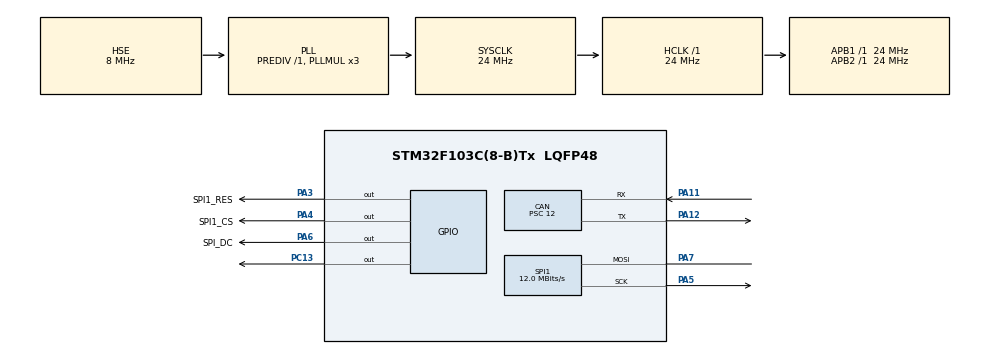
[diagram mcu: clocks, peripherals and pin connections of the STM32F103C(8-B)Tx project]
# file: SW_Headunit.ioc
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CAN.BS1=CAN_BS1_13TQ
CAN.BS2=CAN_BS2_2TQ
CAN.CalculateBaudRate=125000
CAN.CalculateTimeBit=8000
CAN.CalculateTimeQuantum=500.0
CAN.NART=ENABLE
CAN.Prescaler=12
Mcu.Family=STM32F1
Mcu.Name=STM32F103C(8-B)Tx
Mcu.Package=LQFP48
NVIC.CAN1_RX1_IRQn=true\:0\:0\:false\:false\:true\:true\:true\:true
NVIC.CAN1_SCE_IRQn=true\:0\:0\:false\:false\:true\:true\:true\:true
NVIC.PriorityGroup=NVIC_PRIORITYGROUP_4
NVIC.SPI1_IRQn=true\:0\:0\:false\:false\:true\:true\:true\:true
NVIC.TIM4_IRQn=true\:0\:0\:false\:false\:true\:true\:true\:true
NVIC.USB_HP_CAN1_TX_IRQn=true\:0\:0\:false\:false\:true\:true\:true\:true
NVIC.USB_LP_CAN1_RX0_IRQn=true\:0\:0\:false\:false\:true\:true\:true\:true
PA11.Mode=CAN_Activate
PA11.Signal=CAN_RX
PA12.Mode=CAN_Activate
PA12.Signal=CAN_TX
PA13.Mode=Serial_Wire
PA13.Signal=SYS_JTMS-SWDIO
PA14.Mode=Serial_Wire
PA14.Signal=SYS_JTCK-SWCLK
PA3.GPIO_Label=SPI1_RES
PA3.Signal=GPIO_Output
PA4.GPIO_Label=SPI1_CS
PA4.Signal=GPIO_Output
PA5.Mode=Simplex_Bidirectional_Master
PA5.Signal=SPI1_SCK
PA6.GPIO_Label=SPI_DC
PA6.Signal=GPIO_Output
PA7.Mode=Simplex_Bidirectional_Master
PA7.Signal=SPI1_MOSI
PC13-TAMPER-RTC.Signal=GPIO_Output
PC14-OSC32_IN.Mode=LSE-External-Oscillator
PC14-OSC32_IN.Signal=RCC_OSC32_IN
PC15-OSC32_OUT.Mode=LSE-External-Oscillator
PC15-OSC32_OUT.Signal=RCC_OSC32_OUT
PD0-OSC_IN.Mode=HSE-External-Oscillator
PD0-OSC_IN.Signal=RCC_OSC_IN
PD1-OSC_OUT.Mode=HSE-External-Oscillator
PD1-OSC_OUT.Signal=RCC_OSC_OUT
ProjectManager.HeapSize=0x200
ProjectManager.StackSize=0x400
ProjectManager.TargetToolchain=Makefile
RCC.AHBFreq_Value=24000000
RCC.APB1Freq_Value=24000000
RCC.APB1TimFreq_Value=24000000
RCC.APB2Freq_Value=24000000
RCC.APB2TimFreq_Value=24000000
RCC.HCLKFreq_Value=24000000
RCC.PLLMUL=RCC_PLL_MUL3
RCC.PLLSourceVirtual=RCC_PLLSOURCE_HSE
RCC.RTCClockSelection=RCC_RTCCLKSOURCE_LSE
RCC.SYSCLKFreq_VALUE=24000000
RCC.SYSCLKSource=RCC_SYSCLKSOURCE_PLLCLK
RCC.USBFreq_Value=24000000
SPI1.BaudRatePrescaler=SPI_BAUDRATEPRESCALER_2
SPI1.CalculateBaudRate=12.0 MBits/s
SPI1.Direction=SPI_DIRECTION_1LINE
SPI1.Mode=SPI_MODE_MASTER
SPI1.VirtualType=VM_MASTER
TIM4.Period=1000
TIM4.Prescaler=23
VP_TIM4_VS_ClockSourceINT.Mode=Internal
board=custom

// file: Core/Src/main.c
/* USER CODE BEGIN Header */
/**
  ******************************************************************************
  * @file           : main.c
  * @brief          : Main program body
  ******************************************************************************
  * @attention
  *
  * Copyright (c) 2026 STMicroelectronics.
  * All rights reserved.
  *
  * This software is licensed under terms that can be found in the LICENSE file
  * in the root directory of this software component.
  * If no LICENSE file comes with this software, it is provided AS-IS.
  *
  ******************************************************************************
  */
/* USER CODE END Header */
#include "main.h"

/* USER CODE BEGIN Includes */
#include "CO_app_STM32.h"
#include "OD.h"
#include "ST7735.h"
#include "display.h"
#include "fonts.h"
/* USER CODE END Includes */

/* USER CODE BEGIN PTD */
enum DIRECTION_ENUM // арифметическая операция
{
  DIRECTION_DOWN = -1,
  DIRECTION_UNKNOWN,
  DIRECTION_UP
};

typedef struct {
  OD_entry_t* CAN_entry;
  int8_t direction;
  //uint8_t gear;
  uint8_t gear_total;
  uint8_t position[16];
  uint8_t log[32];
} shifter_descriptor;
/* USER CODE END PTD */

CAN_HandleTypeDef hcan;

SPI_HandleTypeDef hspi1;

TIM_HandleTypeDef htim4;

/* USER CODE BEGIN PV */
shifter_descriptor shifter[2];
/* USER CODE END PV */

void SystemClock_Config(void);
static void MX_GPIO_Init(void);
static void MX_CAN_Init(void);
static void MX_SPI1_Init(void);
static void MX_TIM4_Init(void);

/* USER CODE BEGIN 0 */
/* Timer interrupt function executes every 1 ms */
void HAL_TIM_PeriodElapsedCallback(TIM_HandleTypeDef* htim)
{
  static uint16_t overflow_counter = 0; //15:12 - reserved, 11:7 - 32 samples, 6 - shifter interleave, 5:1 64ms delay
  int16_t shift = 0; //Needed for easier operations with boudaries
  uint8_t sh_num;
  if (htim == canopenNodeSTM32->timerHandle)
  {
    canopen_app_interrupt();
  }
  //HAL_GPIO_TogglePin(GPIOC, GPIO_PIN_13);
  overflow_counter ++;
  if ((overflow_counter&0x3F) == 0x3F) // Triggered every 64 ms
  {
    sh_num = (overflow_counter>>6)&1;
    OD_get_u8(shifter[sh_num].CAN_entry, 0x01+sh_num, (uint8_t*)&shift, false); //get shifter value

    if (shift==0) // Reserved default value meaning absence of real data
      return;
    else if (shifter[sh_num].gear_total == 0) // Triggered only at startup to get initial valid position
    {
      //shifter[sh_num].gear = 1;
      shifter[sh_num].gear_total = 1;
      shifter[sh_num].position[1] = shift;
    }

    if((shifter[sh_num].gear_total != 0) && (shifter[sh_num].direction == DIRECTION_UNKNOWN)) // Only for first shift detection
    {
      if (shift-5 >= (shifter[sh_num].position[ 1 ]))
        shifter[sh_num].direction = DIRECTION_UP;
      else if (shift+5 < (shifter[sh_num].position[ 1 ]))
        shifter[sh_num].direction = DIRECTION_DOWN;
    }

    shifter[sh_num].log[(overflow_counter>>7)&0x0F] = shift; // Storing 16*128ms of samples

      if (((overflow_counter>>7)&0x0F) == 0x0F) // When we got all 16 samples
      {
        int16_t min = 255;
        int16_t max = 0;
        for(uint8_t i = 0; i<16; i++) //searching for lowest and highhest values
        {
          if (shifter[sh_num].log[i] < min)
            min = shifter[sh_num].log[i];
          if (shifter[sh_num].log[i] > max)
            max = shifter[sh_num].log[i];
        }

        if ((max-min)>5) // discard all if movement not finished or deviation is too high
          return;

        if (shifter[sh_num].gear_total >= 15) // discard all if max gear count per shipter reached
          return;

        if (shifter[sh_num].direction == DIRECTION_UNKNOWN) // discard all if no direction was defined yet
          return;

        if (shifter[sh_num].direction == DIRECTION_UP)
        {
          if ((min-5) >= shifter[sh_num].position[ shifter[sh_num].gear_total ])
          {
            //shifter[sh_num].gear = gear_total;
            shifter[sh_num].gear_total += 1;
            shifter[sh_num].position[shifter[sh_num].gear_total] = (max+min)/2;
          }
          else if ((max+5) <= (shifter[sh_num].position[ 1 ]))
          {
            //shifter[sh_num].gear =1;
            shifter[sh_num].gear_total += 1;
            for(uint8_t i = shifter[sh_num].gear_total; i>1; i--) // moving all positions up to add one gear to the bottom
            {
              shifter[sh_num].position[i] = shifter[sh_num].position[i-1];
            }
            shifter[sh_num].position[ 1 ] = (max+min)/2;
          }
        }

        if (shifter[sh_num].direction == DIRECTION_DOWN)
        {
          if ((min-5) >= shifter[sh_num].position[ 1 ])
          {
            //shifter[sh_num].gear = gear_total;
            shifter[sh_num].gear_total += 1;
            for(uint8_t i = shifter[sh_num].gear_total; i>1; i--) // moving all positions up to add one gear to the bottom
            {
              shifter[sh_num].position[i] = shifter[sh_num].position[i-1];
            }
            shifter[sh_num].position[ 1 ] = (max+min)/2;
          }
          else if ((max+5) <= (shifter[sh_num].position[ shifter[sh_num].gear_total ]))
          {
            //shifter[sh_num].gear =1;
            shifter[sh_num].gear_total += 1;
            shifter[sh_num].position[shifter[sh_num].gear_total] = (max+min)/2;
          }
        }
      }
  }
}
/* USER CODE END 0 */

int main(void)
{

  /* MCU Configuration--------------------------------------------------------*/

  /* Reset of all peripherals, Initializes the Flash interface and the Systick. */
  HAL_Init();

  /* Configure the system clock */
  SystemClock_Config();

  /* USER CODE BEGIN SysInit */
  for(uint8_t i = 0; i<2; i++)
  {
    shifter[i].CAN_entry = OD_find(OD,0x6001); //Same Index, different subindices
    shifter[i].direction = DIRECTION_UNKNOWN;
    shifter[i].gear_total = 0;
    for(uint8_t j = 0; j<16; j++)
    {
      shifter[i].position[j]=0;
    }
    for(uint8_t j = 0; j<32; j++)
    {
      shifter[i].log[j]=0;
    }
  }
  /* USER CODE END SysInit */

  /* Initialize all configured peripherals */
  MX_GPIO_Init();
  MX_CAN_Init();
  MX_SPI1_Init();
  MX_TIM4_Init();
  /* USER CODE BEGIN 2 */

  CANopenNodeSTM32 canOpenNodeSTM32;
  canOpenNodeSTM32.CANHandle = &hcan;
  canOpenNodeSTM32.HWInitFunction = MX_CAN_Init;
  canOpenNodeSTM32.timerHandle = &htim4;
  canOpenNodeSTM32.desiredNodeID = 3;
  canOpenNodeSTM32.baudrate = 125;
  canopen_app_init(&canOpenNodeSTM32);

  initR(&hspi1);
  displayInit(getBufferPointer(), ST7735_WIDTH, ST7735_HEIGHT);
  enableDisplay(false);
  enableInvert(true);
  setCursor(0,0);
  fillRectangle(80,160,0x00);

  redraw();
  enableDisplay(true);
  /* USER CODE END 2 */

  /* Infinite loop */
  /* USER CODE BEGIN WHILE */
  uint8_t i=0;
  uint8_t trigger=0;
  uint8_t shift[2]={0, 0};
  //CO_NMT_t state;

  setCursor(2,2);
  while (1)
  {
    canopen_app_process();

    setCursor(0,0);
    fillRectangle(80,60,0x00);
    OD_get_u8(OD_find(OD,0x6001), 0x01, &shift[0], false);

    if ((shift[0]==0) || (shifter[0].gear_total==0) || (shifter[0].direction==DIRECTION_UNKNOWN))
    {
      setCursor(30,40);
      putChar('?', lv_font_montserrat_40, 0);
    }
    else
    {
      uint8_t gear = 1;
      while ((shifter[0].direction*shift[0] > shifter[0].direction*shifter[0].position[gear]) && (gear<=shifter[0].gear_total))
          gear++;
      /*if (shifter[0].direction==DIRECTION_UP)
      {
        while ((shift[0] > shifter[0].position[gear]) && (gear<=shifter[0].gear_total))
          gear++;
      }
      else if (shifter[0].direction==DIRECTION_DOWN)
      {
        while ((shift[0] > shifter[0].position[gear]) && (gear<=shifter[0].gear_total))
          gear++;
      }*/

      if(gear == 1) //possible only below the range
      {
        setCursor(30,40+shifter[0].direction*(shifter[0].position[gear] - shift[0]));
        putChar('1'/*+gear-1*/, lv_font_montserrat_40, 0);
      }
      else if (gear > shifter[0].gear_total) //possible only above the range
      {
        gear--;
        setCursor(30,40+shifter[0].direction*(shifter[0].position[gear] - shift[0]));
        putChar('1'+gear-1, lv_font_montserrat_40, 0);
      }
      else
      {
        uint8_t offset = 56*((int16_t)shift[0] - (int16_t)shifter[0].position[gear-1])/((int16_t)shifter[0].position[gear]-(int16_t)shifter[0].position[gear-1]);
        setCursor(30,40-offset);
        putChar('1'+gear-2, lv_font_montserrat_40, 0);
        setCursor(30,40+20+36-offset);
        putChar('1'+gear-1, lv_font_montserrat_40, 0);
      }

    }

    /*setCursor(0,60);
    fillRectangle(80,60,0x00);
    setCursor(0,70);
    putNumber_u8(shift[0], lv_font_unscii_8, RGBI_LT_GREEN);
    setCursor(0,80);
    putNumber_u8(shifter[0].gear_total, lv_font_unscii_8, RGBI_LT_GREEN);
    setCursor(0,90);
    if(shifter[0].direction==DIRECTION_UNKNOWN)
      putChar('?', lv_font_unscii_8, RGBI_WHITE);
    else if(shifter[0].direction==DIRECTION_UP)
      putChar('U', lv_font_unscii_8, RGBI_WHITE);
    else if(shifter[0].direction==DIRECTION_DOWN)
      putChar('D', lv_font_unscii_8, RGBI_WHITE);

    for(uint8_t j=0; j<shifter[0].gear_total; j++)
    {
      setCursor(0,100+j*10);
      putNumber_u8(shifter[0].position[j+1], lv_font_unscii_8, RGBI_LT_GREEN);
    }

    setCursor(-shift,36);
    putChar('1', lv_font_montserrat_40, 0);
    putChar('2', lv_font_montserrat_40, 0);
    putChar('1', lv_font_montserrat_20, 0);
    putChar('2', lv_font_montserrat_20, 0);
    setCursor(-shift,60);
    putString("CHECK: ", lv_font_unscii_8, RGBI_LT_GREEN);
    setCursor(-shift,70);
    putString("WARNING: ", lv_font_unscii_8, 14);
    setCursor(-shift,80);
    putString("ERROR: ", lv_font_unscii_8, 12);
    setCursor(70,80);
    putChar('8', lv_font_unscii_8, 0xF);
    putChar('1', lv_font_unscii_8, 0x1);
    putChar('2', lv_font_unscii_8, 0x3);
    putChar('3', lv_font_unscii_8, 0x5);
    putChar('4', lv_font_unscii_8, 0x7);
    putChar('5', lv_font_unscii_8, 0x9);
    putChar('6', lv_font_unscii_8, 0xB);
    putChar('7', lv_font_unscii_8, 0xD);
    putChar('8', lv_font_unscii_8, 0xF);*/

    //setCursor(0,55);
    //fillRectangle(80,25,0x00);
    //setCursor(10,70);
    //putChar(0x30+shifter[0].gear_total);
    //setCursor(30,70);
    //putChar(0x30+shifter[1].gear_total);

    //setCursor(0,0);
    //fillRectangle(80,10,i);
    //setCursor(0,10);
    //fillRectangle(80,10,0x01);
    //setCursor(0,20);
    //fillRectangle(80,10,0x02);
    //setCursor(0,30);
    //fillRectangle(80,10,0x03);

/*
    setCursor(0,40);
    fillRectangle(80,10,0x04);
    setCursor(0,50);
    fillRectangle(80,10,0x05);
    setCursor(0,60);
    fillRectangle(80,10,0x06);
    setCursor(0,70);
    fillRectangle(80,10,0x07);
    setCursor(0,80);
    fillRectangle(80,10,0x08);
    setCursor(0,90);
    fillRectangle(80,10,0x09);
    setCursor(0,100);
    fillRectangle(80,10,0x0A);
    setCursor(0,110);
    fillRectangle(80,10,0x0B);
    setCursor(0,120);
    fillRectangle(80,10,0x0C);
    setCursor(0,130);
    fillRectangle(80,10,0x0D);
    setCursor(0,140);
    fillRectangle(80,10,0x0E);
    setCursor(0,150);
    fillRectangle(80,10,0x0F);s*/

    //fillRectangle(20,2,i);
    i++;

    if (!redraw_busy)
    {
      //if (trigger)
        redraw_partial(0, 0, ST7735_WIDTH, 50, (uint16_t*)&st7735_palette);
      //else
      //  redraw_partial(0, 50, ST7735_WIDTH, 110, (uint16_t*)&st7735_palette_rgbi);
      trigger ^= 0x01;
    }
      //redraw_partial(0, 0, ST7735_WIDTH, 44, (uint16_t*)&st7735_palette);
      //redraw_partial(0, i&0x1F, ST7735_WIDTH, 80, (uint16_t*)&st7735_palette_rgbi);
    //redraw_partial(0, 80, ST7735_WIDTH, 160, (uint16_t*)&st7735_palette);
    //redraw_partial(0, 0, ST7735_WIDTH, 80, (uint16_t*)&st7735_palette_red);

    HAL_Delay(10);
    HAL_GPIO_TogglePin(GPIOC, GPIO_PIN_13);
    /* USER CODE END WHILE */

  }
}

void SystemClock_Config(void)
{
  RCC_OscInitTypeDef RCC_OscInitStruct = {0};
  RCC_ClkInitTypeDef RCC_ClkInitStruct = {0};

  /** Initializes the RCC Oscillators according to the specified parameters
  * in the RCC_OscInitTypeDef structure.
  */
  RCC_OscInitStruct.OscillatorType = RCC_OSCILLATORTYPE_HSE;
  RCC_OscInitStruct.HSEState = RCC_HSE_ON;
  RCC_OscInitStruct.HSEPredivValue = RCC_HSE_PREDIV_DIV1;
  RCC_OscInitStruct.HSIState = RCC_HSI_ON;
  RCC_OscInitStruct.PLL.PLLState = RCC_PLL_ON;
  RCC_OscInitStruct.PLL.PLLSource = RCC_PLLSOURCE_HSE;
  RCC_OscInitStruct.PLL.PLLMUL = RCC_PLL_MUL3;
  if (HAL_RCC_OscConfig(&RCC_OscInitStruct) != HAL_OK)
  {
    Error_Handler();
  }

  /** Initializes the CPU, AHB and APB buses clocks
  */
  RCC_ClkInitStruct.ClockType = RCC_CLOCKTYPE_HCLK|RCC_CLOCKTYPE_SYSCLK
                              |RCC_CLOCKTYPE_PCLK1|RCC_CLOCKTYPE_PCLK2;
  RCC_ClkInitStruct.SYSCLKSource = RCC_SYSCLKSOURCE_PLLCLK;
  RCC_ClkInitStruct.AHBCLKDivider = RCC_SYSCLK_DIV1;
  RCC_ClkInitStruct.APB1CLKDivider = RCC_HCLK_DIV1;
  RCC_ClkInitStruct.APB2CLKDivider = RCC_HCLK_DIV1;

  if (HAL_RCC_ClockConfig(&RCC_ClkInitStruct, FLASH_LATENCY_0) != HAL_OK)
  {
    Error_Handler();
  }
}

static void MX_CAN_Init(void)
{

  hcan.Instance = CAN1;
  hcan.Init.Prescaler = 12;
  hcan.Init.Mode = CAN_MODE_NORMAL;
  hcan.Init.SyncJumpWidth = CAN_SJW_1TQ;
  hcan.Init.TimeSeg1 = CAN_BS1_13TQ;
  hcan.Init.TimeSeg2 = CAN_BS2_2TQ;
  hcan.Init.TimeTriggeredMode = DISABLE;
  hcan.Init.AutoBusOff = DISABLE;
  hcan.Init.AutoWakeUp = DISABLE;
  hcan.Init.AutoRetransmission = ENABLE;
  hcan.Init.ReceiveFifoLocked = DISABLE;
  hcan.Init.TransmitFifoPriority = DISABLE;
  if (HAL_CAN_Init(&hcan) != HAL_OK)
  {
    Error_Handler();
  }

}

static void MX_SPI1_Init(void)
{

  /* SPI1 parameter configuration*/
  hspi1.Instance = SPI1;
  hspi1.Init.Mode = SPI_MODE_MASTER;
  hspi1.Init.Direction = SPI_DIRECTION_1LINE;
  hspi1.Init.DataSize = SPI_DATASIZE_8BIT;
  hspi1.Init.CLKPolarity = SPI_POLARITY_LOW;
  hspi1.Init.CLKPhase = SPI_PHASE_1EDGE;
  hspi1.Init.NSS = SPI_NSS_SOFT;
  hspi1.Init.BaudRatePrescaler = SPI_BAUDRATEPRESCALER_2;
  hspi1.Init.FirstBit = SPI_FIRSTBIT_MSB;
  hspi1.Init.TIMode = SPI_TIMODE_DISABLE;
  hspi1.Init.CRCCalculation = SPI_CRCCALCULATION_DISABLE;
  hspi1.Init.CRCPolynomial = 10;
  if (HAL_SPI_Init(&hspi1) != HAL_OK)
  {
    Error_Handler();
  }

}

static void MX_TIM4_Init(void)
{

  TIM_ClockConfigTypeDef sClockSourceConfig = {0};
  TIM_MasterConfigTypeDef sMasterConfig = {0};

  htim4.Instance = TIM4;
  htim4.Init.Prescaler = 23;
  htim4.Init.CounterMode = TIM_COUNTERMODE_UP;
  htim4.Init.Period = 1000;
  htim4.Init.ClockDivision = TIM_CLOCKDIVISION_DIV1;
  htim4.Init.AutoReloadPreload = TIM_AUTORELOAD_PRELOAD_DISABLE;
  if (HAL_TIM_Base_Init(&htim4) != HAL_OK)
  {
    Error_Handler();
  }
  sClockSourceConfig.ClockSource = TIM_CLOCKSOURCE_INTERNAL;
  if (HAL_TIM_ConfigClockSource(&htim4, &sClockSourceConfig) != HAL_OK)
  {
    Error_Handler();
  }
  sMasterConfig.MasterOutputTrigger = TIM_TRGO_RESET;
  sMasterConfig.MasterSlaveMode = TIM_MASTERSLAVEMODE_DISABLE;
  if (HAL_TIMEx_MasterConfigSynchronization(&htim4, &sMasterConfig) != HAL_OK)
  {
    Error_Handler();
  }

}

static void MX_GPIO_Init(void)
{
  GPIO_InitTypeDef GPIO_InitStruct = {0};

  /* GPIO Ports Clock Enable */
  __HAL_RCC_GPIOC_CLK_ENABLE();
  __HAL_RCC_GPIOD_CLK_ENABLE();
  __HAL_RCC_GPIOA_CLK_ENABLE();

  /*Configure GPIO pin Output Level */
  HAL_GPIO_WritePin(GPIOC, GPIO_PIN_13, GPIO_PIN_RESET);

  /*Configure GPIO pin Output Level */
  HAL_GPIO_WritePin(GPIOA, SPI1_RES_Pin|SPI1_CS_Pin|SPI_DC_Pin, GPIO_PIN_RESET);

  /*Configure GPIO pin : PC13 */
  GPIO_InitStruct.Pin = GPIO_PIN_13;
  GPIO_InitStruct.Mode = GPIO_MODE_OUTPUT_PP;
  GPIO_InitStruct.Pull = GPIO_NOPULL;
  GPIO_InitStruct.Speed = GPIO_SPEED_FREQ_LOW;
  HAL_GPIO_Init(GPIOC, &GPIO_InitStruct);

  /*Configure GPIO pins : SPI1_RES_Pin SPI1_CS_Pin SPI_DC_Pin */
  GPIO_InitStruct.Pin = SPI1_RES_Pin|SPI1_CS_Pin|SPI_DC_Pin;
  GPIO_InitStruct.Mode = GPIO_MODE_OUTPUT_PP;
  GPIO_InitStruct.Pull = GPIO_NOPULL;
  GPIO_InitStruct.Speed = GPIO_SPEED_FREQ_LOW;
  HAL_GPIO_Init(GPIOA, &GPIO_InitStruct);

}

void Error_Handler(void)
{
  __disable_irq();
  while (1)
  {
  }
}
